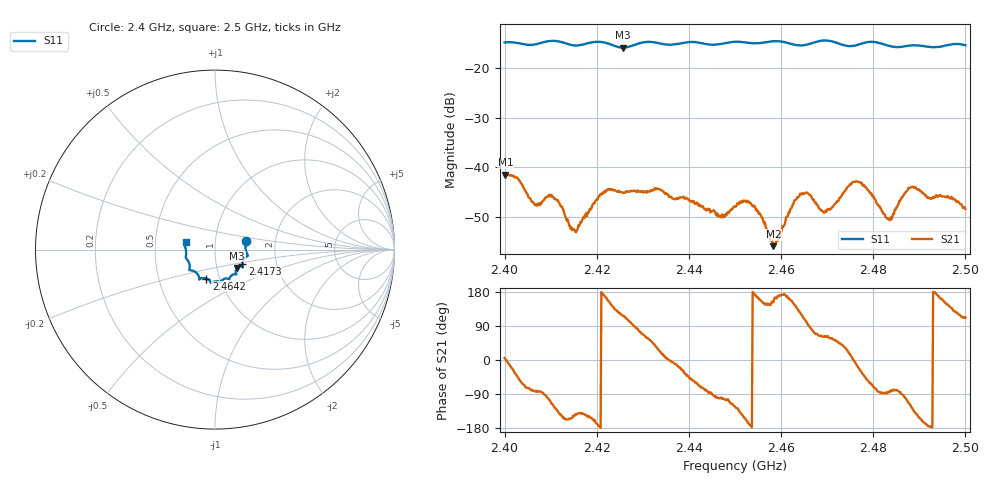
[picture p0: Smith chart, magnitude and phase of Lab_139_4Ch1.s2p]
# Hz S RI R 50
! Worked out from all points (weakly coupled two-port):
!   601 points, 2.4 GHz to 2.5 GHz, reference 50 ohm
!   highest |S21| = -41.49 dB at 2.4002 GHz (marker M1); lowest = -55.8 dB at 2.4583 GHz (marker M2)
!   lowest |S11| = -15.9 dB at 2.4257 GHz (marker M3), VSWR 1.38, Z = 62.4 - j13.1 ohm
!   |S11| at or under -10 dB: start of sweep to end of sweep
!   S12 and S22 are empty: the file has one direction only
!   S11 on the Smith chart (normalised r, x): 2.4 GHz: 1.41, +0.14; 2.4173 GHz: 1.34, -0.23; 2.4642 GHz: 0.86, -0.29; 2.5 GHz: 0.72, +0.06
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2.4e9  0.1731 0.0496  0.00822 0.000748  0 0  0 0
2.400167e9  0.1737 0.0491  0.00841 0.000366  0 0  0 0
2.402833e9  0.174 0.0361  0.00554 -0.00544  0 0  0 0
2.406667e9  0.172 -0.00685  0.000528 -0.00419  0 0  0 0
2.411e9  0.1834 -0.0341  -0.00289 -0.00385  0 0  0 0
2.415e9  0.1589 -0.0556  -0.00203 -0.00126  0 0  0 0
2.416667e9  0.153 -0.0746  -0.00215 -0.0018  0 0  0 0
2.417333e9  0.1524 -0.082  -0.0025 -0.00183  0 0  0 0
2.422167e9  0.1504 -0.0944  -0.00565 0.0018  0 0  0 0
2.425667e9  0.1226 -0.1022  -0.00251 0.00498  0 0  0 0
2.433333e9  0.1129 -0.1368  0.00536 0.00287  0 0  0 0
2.4465e9  0.0438 -0.1669  -0.00062 -0.00314  0 0  0 0
2.45e9  0.0297 -0.1807  -0.00218 -0.00337  0 0  0 0
2.453833e9  0.0116 -0.1765  -0.00406 2.97e-05  0 0  0 0
2.458333e9  -0.0199 -0.1842  -0.00143 0.000748  0 0  0 0
2.464167e9  -0.0483 -0.1611  -0.00307 0.0045  0 0  0 0
2.466667e9  -0.0762 -0.1597  0.000843 0.00488  0 0  0 0
2.4695e9  -0.0878 -0.1669  0.00162 0.0032  0 0  0 0
2.477e9  -0.1269 -0.1166  0.00646 -0.00295  0 0  0 0
2.483333e9  -0.1408 -0.0895  0.00023 -0.00304  0 0  0 0
2.488167e9  -0.1604 -0.0498  -0.0033 -0.00536  0 0  0 0
2.5e9  -0.1634 0.0423  -0.00143 0.00356  0 0  0 0
